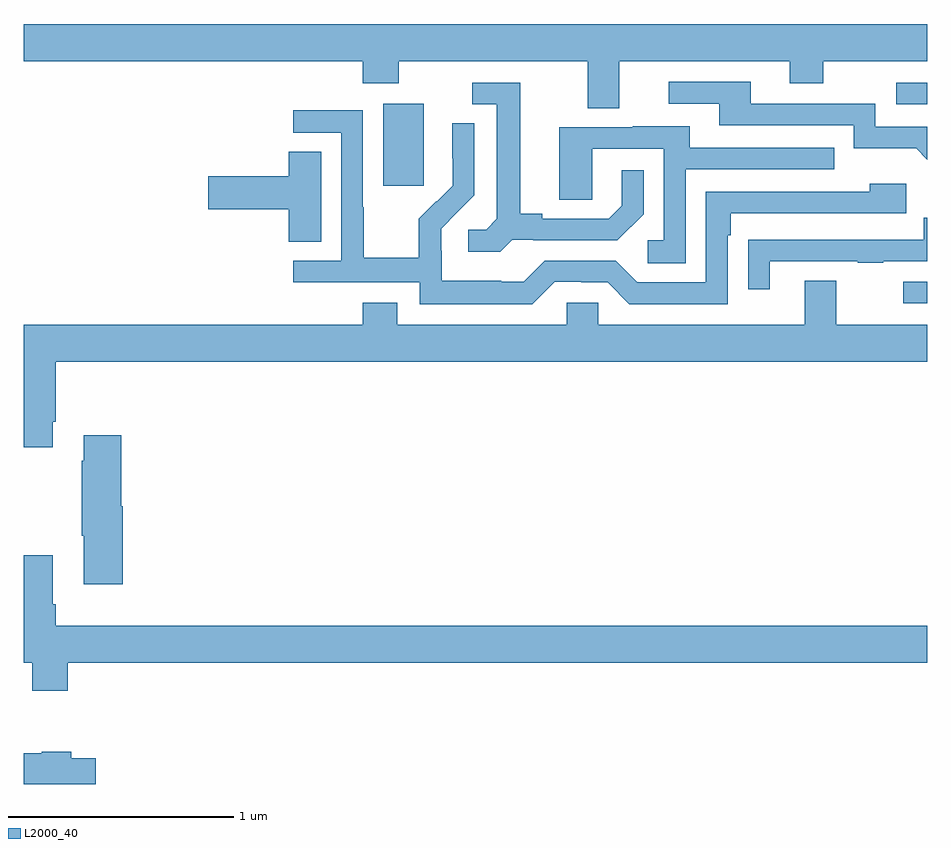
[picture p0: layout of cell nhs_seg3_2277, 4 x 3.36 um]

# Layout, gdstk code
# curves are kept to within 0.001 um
import gdstk
lib = gdstk.Library(unit=1e-6, precision=1e-09)
def R(c, l, rs):  # rectangles x0, y0, x1, y1
    for r in rs: c.add(gdstk.rectangle(r[:2], r[2:], *l))
def P(c, l, *ps):  # polygons
    for p in ps: c.add(gdstk.Polygon(p, *l))
L2000_40 = (2000, 40)

nhs_seg3_2277 = lib.new_cell('nhs_seg3_2277')
R(nhs_seg3_2277, L2000_40, [(232.893,682.527,233,682.623), (230.591,683.049,230.77,683.41), (232.863,683.409,233,683.505)])
P(nhs_seg3_2277, L2000_40, [(231.637,683.6),(232.391,683.6),(232.391,683.501),(232.539,683.501),(232.539,683.6),(233,683.6),(233,683.764),(229,683.764),(229,683.6),(230.501,683.6),(230.501,683.501),(230.661,683.501),(230.661,683.6),(231.497,683.6),(231.497,683.392),(231.637,683.392)],
  [(233,683.31),(232.77,683.31),(232.77,683.412),(232.219,683.412),(232.219,683.508),(231.855,683.508),(231.855,683.412),(232.079,683.412),(232.079,683.316),(232.674,683.316),(232.674,683.213),(232.951,683.213),(233,683.164)],
  [(231.162,682.809),(231.256,682.809),(231.256,682.806),(231.628,682.806),(231.744,682.922),(231.744,683.116),(231.647,683.116),(231.647,682.959),(231.59,682.902),(231.295,682.902),(231.295,682.925),(231.199,682.925),(231.199,683.505),(230.985,683.505),(230.985,683.409),(231.095,683.409),(231.095,682.901),(231.048,682.854),(230.967,682.854),(230.967,682.757),(231.11,682.757)],
  [(231.351,682.623),(231.467,682.623),(231.467,682.62),(231.585,682.62),(231.681,682.524),(232.116,682.524),(232.116,682.829),(232.129,682.829),(232.129,682.926),(232.906,682.926),(232.906,683.056),(232.745,683.056),(232.745,683.022),(232.02,683.022),(232.02,682.62),(231.717,682.62),(231.621,682.716),(231.306,682.716),(231.213,682.623),(231.113,682.623),(231.113,682.627),(230.85,682.627),(230.85,682.761),(230.848,682.761),(230.848,682.858),(230.994,683.006),(230.994,683.324),(230.898,683.324),(230.898,683.17),(230.9,683.17),(230.9,683.048),(230.829,682.977),(230.826,682.98),(230.749,682.903),(230.749,682.729),(230.505,682.729),(230.505,682.952),(230.502,682.952),(230.502,683.382),(230.193,683.382),(230.193,683.283),(230.406,683.283),(230.406,682.716),(230.193,682.716),(230.193,682.62),(230.754,682.62),(230.754,682.523),(231.251,682.523)],
  [(231.93,683.121),(232.589,683.121),(232.589,683.217),(231.949,683.217),(231.949,683.311),(231.695,683.311),(231.695,683.307),(231.371,683.307),(231.371,682.987),(231.516,682.987),(231.516,683.211),(231.834,683.211),(231.834,682.806),(231.762,682.806),(231.762,682.705),(231.93,682.705)],
  [(230.317,683.198),(230.174,683.198),(230.174,683.09),(229.818,683.09),(229.818,682.943),(230.174,682.943),(230.174,682.801),(230.317,682.801)],
  [(232.303,682.713),(232.693,682.713),(232.693,682.708),(232.805,682.708),(232.805,682.713),(233,682.713),(233,682.906),(232.984,682.906),(232.984,682.809),(232.309,682.809),(232.309,682.808),(232.207,682.808),(232.207,682.59),(232.303,682.59)],
  [(229.129,682.003),(229.142,682.003),(229.142,682.268),(233,682.268),(233,682.432),(232.597,682.432),(232.597,682.627),(232.457,682.627),(232.457,682.432),(231.543,682.432),(231.543,682.53),(231.405,682.53),(231.405,682.432),(230.653,682.432),(230.653,682.531),(230.501,682.531),(230.501,682.432),(229,682.432),(229,681.891),(229.129,681.891)],
  [(229.438,681.63),(229.433,681.63),(229.433,681.943),(229.265,681.943),(229.265,681.83),(229.258,681.83),(229.258,681.499),(229.265,681.499),(229.265,681.284),(229.438,681.284)],
  [(229.129,681.196),(229.129,681.412),(229,681.412),(229,680.936),(229.039,680.936),(229.039,680.812),(229.196,680.812),(229.196,680.936),(233,680.936),(233,681.1),(229.142,681.1),(229.142,681.196)],
  [(229.318,680.514),(229.211,680.514),(229.211,680.542),(229.08,680.542),(229.08,680.536),(229,680.536),(229,680.4),(229.318,680.4)])

lib.write_gds('nhs_seg3_2277.gds')
